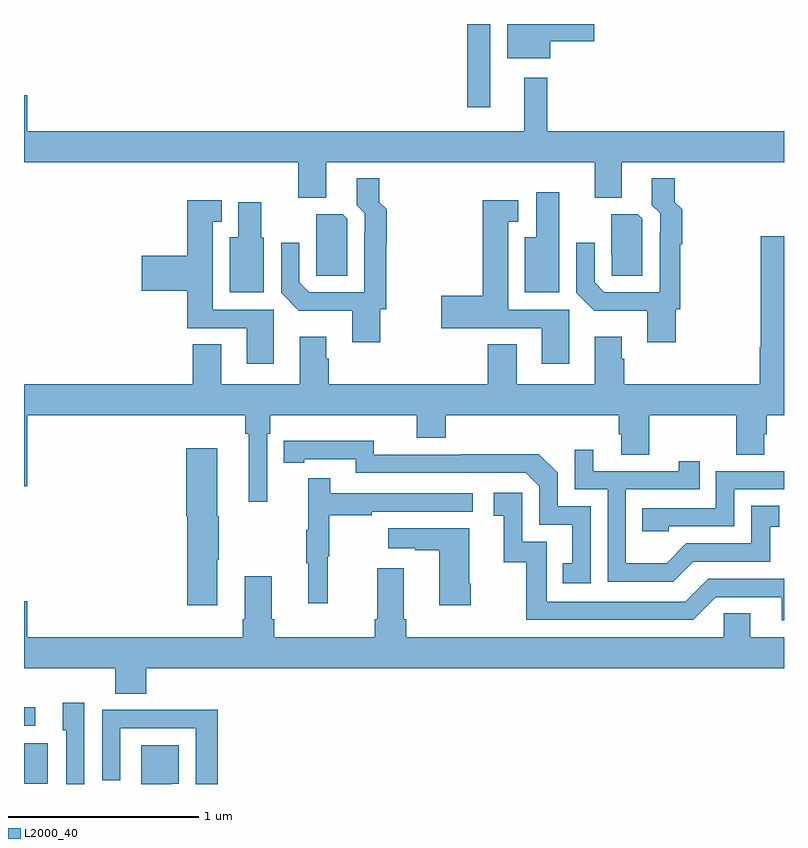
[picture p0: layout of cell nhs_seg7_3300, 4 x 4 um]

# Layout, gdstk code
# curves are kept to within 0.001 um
import gdstk
lib = gdstk.Library(unit=1e-6, precision=1e-09)
def R(c, l, rs):  # rectangles x0, y0, x1, y1
    for r in rs: c.add(gdstk.rectangle(r[:2], r[2:], *l))
def P(c, l, *ps):  # polygons
    for p in ps: c.add(gdstk.Polygon(p, *l))
L2000_40 = (2000, 40)

nhs_seg7_3300 = lib.new_cell('nhs_seg7_3300')
R(nhs_seg7_3300, L2000_40, [(321,1008.002,321.124,1008.214), (321,1008.306,321.058,1008.404), (323.334,1011.561,323.455,1012)])
P(nhs_seg7_3300, L2000_40, [(323.77,1011.91),(324.001,1011.91),(324.001,1012),(323.543,1012),(323.543,1011.821),(323.77,1011.821)],
  [(322.591,1011.272),(324.005,1011.272),(324.005,1011.085),(324.145,1011.085),(324.145,1011.272),(325,1011.272),(325,1011.436),(323.755,1011.436),(323.755,1011.718),(323.633,1011.718),(323.633,1011.436),(321.016,1011.436),(321.016,1011.625),(321,1011.625),(321,1011.272),(322.444,1011.272),(322.444,1011.085),(322.591,1011.085)],
  [(322.875,1010.499),(322.907,1010.499),(322.907,1010.842),(322.91,1010.842),(322.91,1011.024),(322.871,1011.063),(322.871,1011.187),(322.751,1011.187),(322.751,1011.046),(322.794,1011.003),(322.794,1010.903),(322.791,1010.903),(322.791,1010.589),(322.5,1010.589),(322.449,1010.64),(322.449,1010.848),(322.353,1010.848),(322.353,1010.586),(322.447,1010.492),(322.727,1010.492),(322.727,1010.325),(322.875,1010.325)],
  [(324.429,1010.499),(324.454,1010.499),(324.454,1010.842),(324.464,1010.842),(324.464,1011.024),(324.425,1011.063),(324.425,1011.187),(324.305,1011.187),(324.305,1011.046),(324.348,1011.003),(324.348,1010.903),(324.345,1010.903),(324.345,1010.589),(324.054,1010.589),(324.003,1010.64),(324.003,1010.848),(323.907,1010.848),(323.907,1010.586),(324.001,1010.492),(324.281,1010.492),(324.281,1010.325),(324.429,1010.325)],
  [(323.818,1011.115),(323.696,1011.115),(323.696,1010.878),(323.636,1010.878),(323.636,1010.588),(323.818,1010.588)],
  [(323.869,1010.496),(323.548,1010.496),(323.548,1010.96),(323.602,1010.96),(323.602,1011.073),(323.414,1011.073),(323.414,1010.57),(323.196,1010.57),(323.196,1010.399),(323.457,1010.399),(323.457,1010.4),(323.726,1010.4),(323.726,1010.211),(323.869,1010.211)],
  [(322.315,1010.496),(321.994,1010.496),(321.994,1010.96),(322.042,1010.96),(322.042,1011.073),(321.86,1011.073),(321.86,1010.78),(321.621,1010.78),(321.621,1010.597),(321.86,1010.597),(321.86,1010.4),(322.172,1010.4),(322.172,1010.211),(322.315,1010.211)],
  [(322.261,1010.874),(322.249,1010.874),(322.249,1011.061),(322.127,1011.061),(322.127,1010.878),(322.082,1010.878),(322.082,1010.588),(322.261,1010.588)],
  [(324.255,1010.976),(324.231,1011),(324.092,1011),(324.092,1010.785),(324.093,1010.785),(324.093,1010.674),(324.255,1010.674)],
  [(322.701,1010.976),(322.677,1011),(322.538,1011),(322.538,1010.785),(322.539,1010.785),(322.539,1010.674),(322.701,1010.674)],
  [(322.281,1009.844),(322.295,1009.844),(322.295,1009.94),(323.066,1009.94),(323.066,1009.823),(323.219,1009.823),(323.219,1009.94),(324.131,1009.94),(324.131,1009.842),(324.143,1009.842),(324.143,1009.732),(324.291,1009.732),(324.291,1009.94),(324.748,1009.94),(324.748,1009.732),(324.895,1009.732),(324.895,1009.842),(324.908,1009.842),(324.908,1009.94),(325,1009.94),(325,1010.883),(324.877,1010.883),(324.877,1010.3),(324.872,1010.3),(324.872,1010.104),(324.158,1010.104),(324.158,1010.237),(324.145,1010.237),(324.145,1010.353),(324.005,1010.353),(324.005,1010.104),(323.593,1010.104),(323.593,1010.314),(323.441,1010.314),(323.441,1010.104),(322.604,1010.104),(322.604,1010.237),(322.591,1010.237),(322.591,1010.353),(322.451,1010.353),(322.451,1010.104),(322.039,1010.104),(322.039,1010.315),(321.887,1010.315),(321.887,1010.104),(321,1010.104),(321,1009.566),(321.016,1009.566),(321.016,1009.94),(322.165,1009.94),(322.165,1009.844),(322.184,1009.844),(322.184,1009.485),(322.281,1009.485)],
  [(323.982,1009.461),(323.808,1009.461),(323.808,1009.638),(323.71,1009.736),(323.302,1009.736),(323.302,1009.734),(322.842,1009.734),(322.842,1009.807),(322.366,1009.806),(322.366,1009.69),(322.474,1009.69),(322.474,1009.71),(322.746,1009.71),(322.746,1009.638),(323.64,1009.638),(323.712,1009.566),(323.712,1009.365),(323.885,1009.365),(323.885,1009.161),(323.836,1009.161),(323.836,1009.056),(323.982,1009.056)],
  [(322.018,1009.18),(322.026,1009.18),(322.026,1009.41),(322.018,1009.41),(322.018,1009.768),(321.854,1009.768),(321.854,1009.41),(321.86,1009.41),(321.86,1008.942),(322.018,1008.942)],
  [(324.523,1009.17),(324.927,1009.17),(324.927,1009.355),(324.976,1009.355),(324.976,1009.465),(324.828,1009.465),(324.828,1009.266),(324.486,1009.266),(324.382,1009.162),(324.168,1009.162),(324.168,1009.551),(324.557,1009.551),(324.557,1009.699),(324.446,1009.699),(324.446,1009.647),(323.995,1009.647),(323.995,1009.759),(323.898,1009.759),(323.898,1009.551),(324.072,1009.551),(324.072,1009.065),(324.418,1009.065)],
  [(324.393,1009.356),(324.738,1009.356),(324.738,1009.551),(325,1009.551),(325,1009.647),(324.642,1009.647),(324.642,1009.452),(324.253,1009.452),(324.253,1009.329),(324.393,1009.329)],
  [(322.598,1009.2),(322.606,1009.2),(322.606,1009.414),(322.829,1009.414),(322.829,1009.434),(323.362,1009.434),(323.362,1009.53),(322.613,1009.53),(322.613,1009.609),(322.496,1009.609),(322.496,1009.337),(322.485,1009.337),(322.485,1009.163),(322.496,1009.163),(322.496,1008.951),(322.598,1008.951)],
  [(325,1009.08),(324.6,1009.08),(324.48,1008.96),(323.751,1008.96),(323.751,1009.275),(323.622,1009.275),(323.622,1009.534),(323.472,1009.534),(323.472,1009.413),(323.525,1009.413),(323.525,1009.167),(323.643,1009.167),(323.643,1008.864),(324.522,1008.864),(324.642,1008.984),(324.989,1008.984),(324.989,1008.861),(325,1008.861)],
  [(323.352,1009.054),(323.344,1009.054),(323.344,1009.345),(322.917,1009.345),(322.917,1009.241),(323.06,1009.241),(323.06,1009.231),(323.186,1009.231),(323.186,1008.942),(323.352,1008.942)],
  [(325,1008.772),(324.823,1008.772),(324.823,1008.899),(324.684,1008.899),(324.684,1008.772),(323.012,1008.772),(323.012,1008.868),(322.999,1008.868),(322.999,1009.135),(322.859,1009.135),(322.859,1008.868),(322.847,1008.868),(322.847,1008.772),(322.316,1008.772),(322.316,1008.868),(322.303,1008.868),(322.303,1009.093),(322.163,1009.093),(322.163,1008.868),(322.151,1008.868),(322.151,1008.772),(321.016,1008.772),(321.016,1008.961),(321,1008.961),(321,1008.608),(321.479,1008.608),(321.479,1008.475),(321.644,1008.475),(321.644,1008.608),(325,1008.608)],
  [(321.318,1008.427),(321.203,1008.427),(321.203,1008.282),(321.222,1008.282),(321.222,1008),(321.318,1008)],
  [(322.019,1008.392),(321.727,1008.392),(321.727,1008.39),(321.411,1008.39),(321.411,1008.021),(321.507,1008.021),(321.507,1008.294),(321.903,1008.294),(321.903,1008),(322.019,1008)],
  [(321.775,1008.002),(321.814,1008.002),(321.814,1008.205),(321.617,1008.205),(321.617,1008),(321.775,1008)])

lib.write_gds('nhs_seg7_3300.gds')
